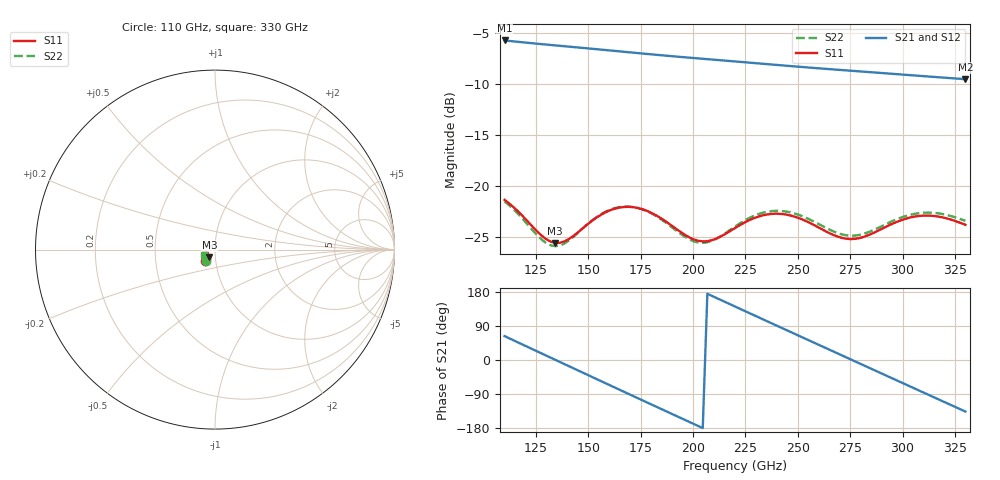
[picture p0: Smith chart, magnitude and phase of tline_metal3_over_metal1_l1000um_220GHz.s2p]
#  GHZ S DB R 50
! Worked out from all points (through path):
!   101 points, 110 GHz to 330 GHz, reference 50 ohm
!   highest |S21| = -5.73 dB at 110 GHz (marker M1); lowest = -9.5 dB at 330 GHz (marker M2)
!   group delay of S21, straight-line fit = 7.05 ps
!   lowest |S11| = -25.6 dB at 134.2 GHz (marker M3), VSWR 1.11, Z = 46.8 - j3.94 ohm
!   |S11| at or under -10 dB: start of sweep to end of sweep
!   |S22| runs from -25.9 to -21.5 dB; largest |S21 - S12| = 5.5e-14
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110  -21.39 -129.3  -5.73 63.0  -5.73 63.0  -21.54 -128.5
123.2  -23.98 -136.6  -6.00 28.8  -6.00 28.8  -24.33 -135.1
134.2  -25.61 -126.8  -6.21 0.5  -6.21 0.5  -25.93 -123.3
147.4  -24.16 -116.0  -6.46 -33.5  -6.46 -33.5  -24.17 -112.3
156.2  -22.83 -119.4  -6.63 -56.2  -6.63 -56.2  -22.77 -116.5
165  -22.14 -127.3  -6.80 -78.8  -6.80 -78.8  -22.09 -125.0
173.8  -22.19 -136.1  -6.97 -101.3  -6.97 -101.3  -22.19 -134.2
184.8  -23.21 -144.5  -7.18 -129.3  -7.18 -129.3  -23.31 -142.6
193.6  -24.48 -145.7  -7.34 -151.7  -7.34 -151.7  -24.66 -143.3
202.4  -25.40 -140.3  -7.49 -174.1  -7.49 -174.1  -25.57 -136.7
211.2  -25.18 -132.7  -7.64 163.6  -7.64 163.6  -25.19 -128.4
220  -24.15 -130.0  -7.79 141.2  -7.79 141.2  -24.01 -125.9
228.8  -23.20 -132.9  -7.94 118.9  -7.94 118.9  -22.98 -129.4
237.6  -22.76 -138.9  -8.09 96.6  -8.09 96.6  -22.49 -135.8
246.4  -22.92 -145.2  -8.24 74.3  -8.24 74.3  -22.61 -142.5
257.4  -23.82 -150.2  -8.42 46.6  -8.42 46.6  -23.49 -148.0
266.2  -24.76 -149.2  -8.56 24.4  -8.56 24.4  -24.41 -147.5
275  -25.24 -143.8  -8.70 2.2  -8.70 2.2  -24.90 -142.5
283.8  -24.84 -138.2  -8.83 -20.0  -8.83 -20.0  -24.55 -137.1
294.8  -23.77 -137.0  -9.00 -47.7  -9.00 -47.7  -23.51 -136.0
312.4  -22.93 -145.3  -9.27 -91.9  -9.27 -91.9  -22.64 -144.2
330  -23.83 -151.6  -9.53 -136.0  -9.53 -136.0  -23.44 -151.2
